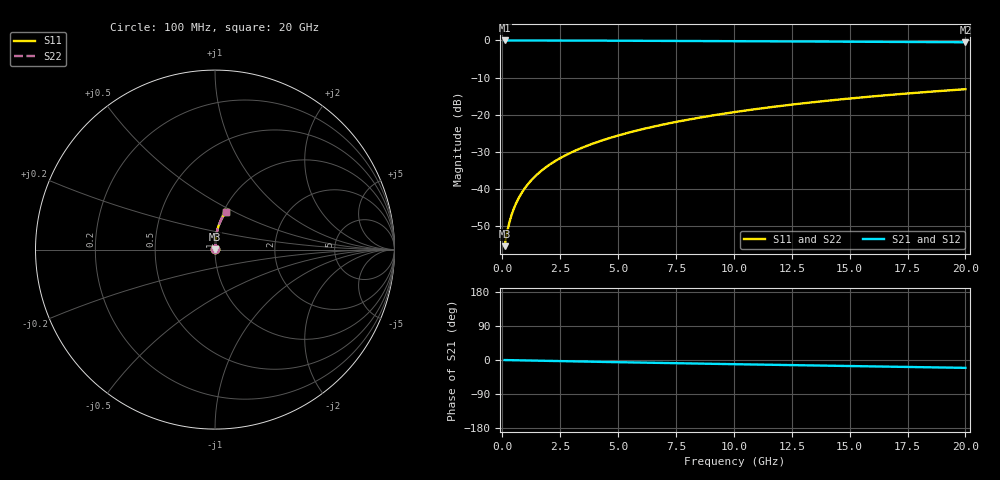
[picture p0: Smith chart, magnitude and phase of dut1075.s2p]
! Touchstone file exported from HFSS 2024.1.0
!  File:  C:/UserFiles/LocalFiles/RDL_TSV_Batchsim/temp_RDL_top_1075_1780045366.aedt
!  Generated:  05:04:40 PM May 29, 2026
!  Design:  RDL_top
!  Project:  temp_RDL_top_1075_1780045366
!  Setup:  Setup1
!  Solution:  Sweep
! Variables:
!  dtsv = 10.80580581um
!  hbump = 3um
!  htsv = 68.49um
!  ldown = 100um
!  lrdl = 280.36um
!  p = 40
!  p1 = 43.17um
!  rhole = 1um
!  t = 450um
!  tdown = 3.915915916um
!  trdl = 4.89um
!  wdown = 15.38538539um
!  wrdl = 17.36um
# GHz S MA R 50.000000
! Terminal data exported
! Port[1] = Box2_T1
! Port[2] = Box2_T2
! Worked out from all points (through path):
!   200 points, 100 MHz to 20 GHz, reference 50 ohm
!   highest |S21| = -0.01 dB at 100 MHz (marker M1); lowest = -0.5 dB at 20 GHz (marker M2)
!   group delay of S21, straight-line fit = 2.86 ps
!   lowest |S11| = -55.3 dB at 100 MHz (marker M3), VSWR 1.00, Z = 50.1 + j0.113 ohm
!   |S11| at or under -10 dB: start of sweep to end of sweep
!   |S22| runs from -55.3 to -13.1 dB; largest |S21 - S12| = 1.9e-15
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0.1  0.00172 40.7  0.9987 -0.1  0.9987 -0.1  0.00172 40.7
! Gamma 0 0 0 0
! Port Impedance 50 0 50 0
0.2  0.002589 58.2  0.9986 -0.2  0.9986 -0.2  0.002588 58.2
0.3  0.003541 66.4  0.9986 -0.4  0.9986 -0.4  0.003541 66.4
0.4  0.004519 71.3  0.9985 -0.5  0.9985 -0.5  0.004519 71.3
0.5  0.005514 74.4  0.9984 -0.6  0.9984 -0.6  0.005514 74.4
0.6  0.00652 76.7  0.9983 -0.7  0.9983 -0.7  0.00652 76.7
0.8  0.008555 79.6  0.9982 -1.0  0.9982 -1.0  0.008555 79.6
1.1  0.01164 82.1  0.998 -1.3  0.998 -1.3  0.01164 82.1
1.5  0.01578 83.8  0.9976 -1.8  0.9976 -1.8  0.01578 83.8
1.8  0.0189 84.6  0.9973 -2.1  0.9973 -2.1  0.0189 84.6
2.1  0.02202 85.1  0.9969 -2.5  0.9969 -2.5  0.02202 85.1
2.7  0.0283 85.7  0.9959 -3.2  0.9959 -3.2  0.02829 85.7
3.5  0.03671 86.0  0.9944 -4.1  0.9944 -4.1  0.03671 86.0
4.2  0.04414 86.1  0.9929 -4.9  0.9929 -4.9  0.04414 86.1
5  0.05272 86.0  0.9909 -5.8  0.9909 -5.8  0.05272 86.0
5.9  0.06251 85.8  0.9885 -6.7  0.9885 -6.7  0.06251 85.8
6.8  0.07244 85.4  0.986 -7.7  0.986 -7.7  0.07244 85.4
8.4  0.09039 84.5  0.9814 -9.4  0.9814 -9.4  0.09039 84.5
10.1  0.1098 83.2  0.9763 -11.1  0.9763 -11.1  0.1098 83.2
13.4  0.1476 80.3  0.9662 -14.4  0.9662 -14.4  0.1476 80.2
16.7  0.1849 77.0  0.9557 -17.6  0.9557 -17.6  0.1849 77.0
20  0.2211 73.6  0.9449 -20.7  0.9449 -20.7  0.2211 73.6
